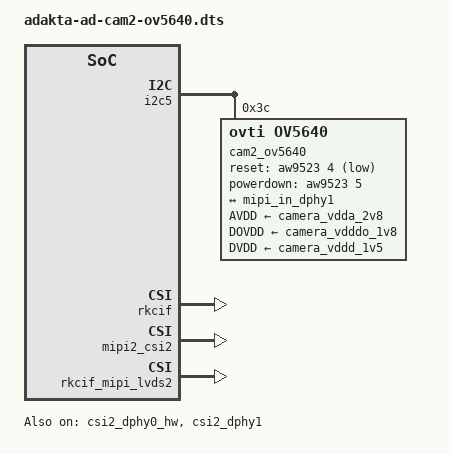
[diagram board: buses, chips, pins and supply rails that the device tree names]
/dts-v1/;
/plugin/;

#include <dt-bindings/clock/rk3588-cru.h>
#include <dt-bindings/power/rk3588-power.h>
#include <dt-bindings/gpio/gpio.h>
#include <dt-bindings/pinctrl/rockchip.h>

/ {
	metadata {
		title = "Enable OV5640 MIPI-CSI Camera 2";
		compatible = "adakta,adakta-ad-rk3588";
		category = "camera";
		description = "Enable OV5640 MIPI-CSI Camera 2";
	};

	fragment@0 {
		target = <&i2c5>;

		__overlay__ {
			status = "okay";

			cam2_ov5640: cam2_ov5640@3c {
				status = "okay";

				compatible = "ovti,ov5640";
				reg = <0x3c>;

				power-domains = <&power RK3588_PD_VI>;
				rockchip,grf = <&sys_grf>;

				pinctrl-names = "default";
				pinctrl-0 = <&mipim0_camera3_clk &aw9523_cam2_powerdown_pins &aw9523_cam2_reset_pins>;

				reset-gpios = <&aw9523 4 GPIO_ACTIVE_LOW>;
				powerdown-gpios = <&aw9523 5 GPIO_ACTIVE_HIGH>;

				clocks = <&cru CLK_MIPI_CAMARAOUT_M3>;
				clock-names = "xclk";

				AVDD-supply = <&camera_vdda_2v8>;
				DOVDD-supply = <&camera_vdddo_1v8>;
				DVDD-supply = <&camera_vddd_1v5>;

				rockchip,camera-module-index = <2>;
				rockchip,camera-module-facing = "back";
				rockchip,camera-module-name = "KLT-KD6-OV5640";
				rockchip,camera-module-lens-name = "default";

				port {
					cam2_ov5640_out: endpoint {
						remote-endpoint = <&mipi_in_dphy1>;
						data-lanes = <1 2>;
					};
				};
			};
		};
	};

	fragment@1 {
		target = <&mipi_in_dphy1>;

		__overlay__ {
			remote-endpoint = <&cam2_ov5640_out>;
			data-lanes = <1 2>;
		};
	};

	fragment@2 {
		target = <&rkcif>;

		__overlay__ {
			status = "okay";
		};
	};

	fragment@3 {
		target = <&rkcif_mmu>;

		__overlay__ {
			status = "okay";
		};
	};

	fragment@4 {
		target = <&csi2_dphy0_hw>;

		__overlay__ {
			status = "okay";
		};
	};

	fragment@5 {
		target = <&csi2_dphy1>;

		__overlay__ {
			status = "okay";
		};
	};

	fragment@6 {
		target = <&mipi2_csi2>;

		__overlay__ {
			status = "okay";
		};
	};

	fragment@7 {
		target = <&rkcif_mipi_lvds2>;

		__overlay__ {
			status = "okay";
		};
	};
};
